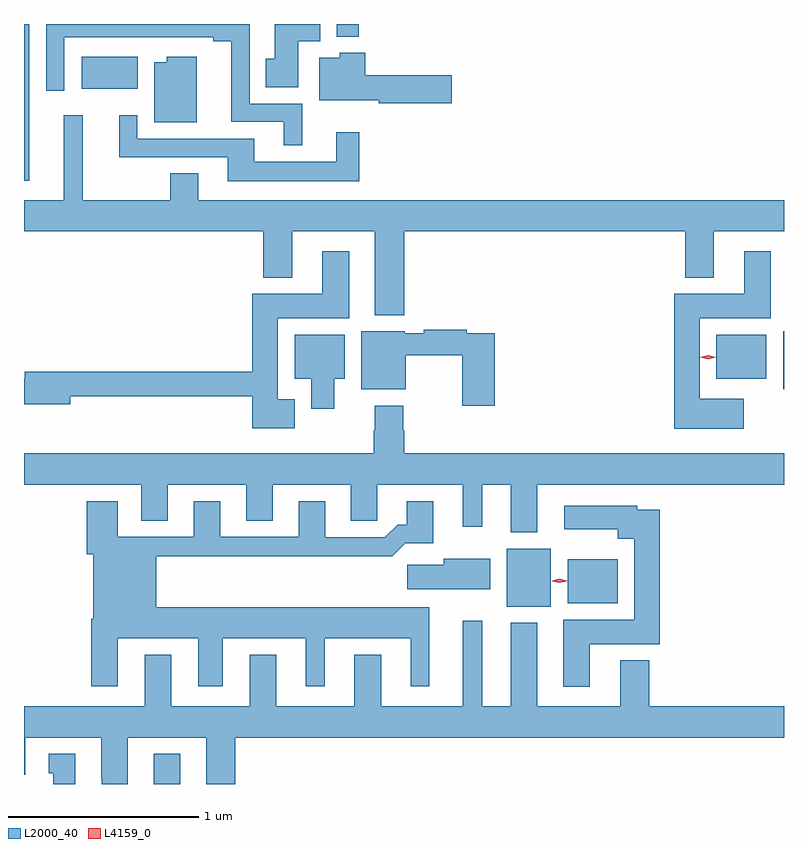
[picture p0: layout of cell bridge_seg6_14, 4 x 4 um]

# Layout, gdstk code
import gdstk
lib = gdstk.Library(unit=1e-6, precision=1e-09)
def R(c, l, rs):  # rectangles x0, y0, x1, y1
    for r in rs: c.add(gdstk.rectangle(r[:2], r[2:], *l))
def P(c, l, *ps):  # polygons
    for p in ps: c.add(gdstk.Polygon(p, *l))
L2000_40 = (2000, 40)
L4159_0 = (4159, 0)

bridge_seg6_14 = lib.new_cell('bridge_seg6_14')
R(bridge_seg6_14, L2000_40, [(910.085,983.056,910.225,983.215), (911.942,983.99,912.175,984.295), (912.263,984.008,912.526,984.238), (913.397,985.133,913.402,985.438), (913.046,985.19,913.309,985.42), (909.402,986.232,909.43,987.056), (909.707,986.714,910,986.884), (911.049,986.99,911.165,987.056)])
P(bridge_seg6_14, L2000_40, [(910.846,986.966),(910.96,986.966),(910.96,987.056),(910.721,987.056),(910.721,986.874),(910.675,986.874),(910.675,986.722),(910.846,986.722)],
  [(910.867,986.637),(910.59,986.637),(910.59,987.056),(909.519,987.056),(909.519,986.706),(909.615,986.706),(909.615,986.985),(910.397,986.985),(910.397,986.965),(910.493,986.965),(910.493,986.541),(910.769,986.541),(910.769,986.417),(910.867,986.417)],
  [(911.653,986.786),(911.198,986.786),(911.198,986.905),(911.064,986.905),(911.064,986.878),(910.955,986.878),(910.955,986.654),(911.268,986.654),(911.268,986.639),(911.653,986.639)],
  [(910.312,986.884),(910.154,986.884),(910.154,986.854),(910.088,986.854),(910.088,986.54),(910.312,986.54)],
  [(911.167,986.485),(911.045,986.485),(911.045,986.332),(910.615,986.332),(910.615,986.451),(909.999,986.451),(909.999,986.575),(909.902,986.575),(909.902,986.355),(910.475,986.355),(910.475,986.228),(911.167,986.228)],
  [(911.402,985.964),(912.881,985.964),(912.881,985.721),(913.033,985.721),(913.033,985.964),(913.402,985.964),(913.402,986.128),(910.318,986.128),(910.318,986.27),(910.171,986.27),(910.171,986.128),(909.71,986.128),(909.71,986.575),(909.611,986.575),(909.611,986.128),(909.402,986.128),(909.402,985.964),(910.661,985.964),(910.661,985.721),(910.813,985.721),(910.813,985.964),(911.249,985.964),(911.249,985.523),(911.402,985.523)],
  [(910.828,985.081),(910.738,985.081),(910.738,985.508),(911.113,985.508),(911.113,985.861),(910.973,985.861),(910.973,985.636),(910.604,985.636),(910.604,985.226),(909.407,985.226),(909.407,985.19),(909.402,985.19),(909.402,985.055),(909.646,985.055),(909.646,985.098),(910.604,985.098),(910.604,984.929),(910.828,984.929)],
  [(913.189,985.084),(912.958,985.084),(912.958,985.508),(913.333,985.508),(913.333,985.861),(913.193,985.861),(913.193,985.636),(912.824,985.636),(912.824,984.926),(913.189,984.926)],
  [(911.879,985.428),(911.732,985.428),(911.732,985.448),(911.506,985.448),(911.506,985.428),(911.406,985.428),(911.406,985.438),(911.177,985.438),(911.177,985.133),(911.41,985.133),(911.41,985.312),(911.708,985.312),(911.708,985.047),(911.879,985.047)],
  [(911.035,985.19),(911.089,985.19),(911.089,985.42),(910.826,985.42),(910.826,985.19),(910.913,985.19),(910.913,985.032),(911.035,985.032)],
  [(912.103,984.632),(913.402,984.632),(913.402,984.796),(911.402,984.796),(911.402,984.917),(911.397,984.917),(911.397,985.048),(911.249,985.048),(911.249,984.917),(911.242,984.917),(911.242,984.796),(909.402,984.796),(909.402,984.632),(910.019,984.632),(910.019,984.442),(910.159,984.442),(910.159,984.632),(910.571,984.632),(910.571,984.442),(910.711,984.442),(910.711,984.632),(911.123,984.632),(911.123,984.442),(911.262,984.442),(911.262,984.632),(911.711,984.632),(911.711,984.411),(911.815,984.411),(911.815,984.632),(911.963,984.632),(911.963,984.38),(912.103,984.38)],
  [(909.895,983.822),(910.319,983.822),(910.319,983.571),(910.447,983.571),(910.447,983.822),(910.886,983.822),(910.886,983.571),(910.984,983.571),(910.984,983.822),(911.438,983.822),(911.438,983.571),(911.536,983.571),(911.536,983.986),(910.099,983.986),(910.099,984.256),(911.083,984.256),(911.083,984.254),(911.339,984.254),(911.408,984.323),(911.557,984.323),(911.557,984.544),(911.417,984.544),(911.417,984.421),(911.368,984.421),(911.301,984.354),(910.987,984.354),(910.987,984.544),(910.847,984.544),(910.847,984.357),(910.435,984.357),(910.435,984.544),(910.295,984.544),(910.295,984.357),(909.895,984.357),(909.895,984.544),(909.731,984.544),(909.731,984.264),(909.767,984.264),(909.767,983.926),(909.755,983.926),(909.755,983.571),(909.895,983.571)],
  [(912.379,983.792),(912.749,983.792),(912.749,984.499),(912.63,984.499),(912.63,984.52),(912.246,984.52),(912.246,984.398),(912.527,984.398),(912.527,984.347),(912.614,984.347),(912.614,983.92),(912.239,983.92),(912.239,983.568),(912.379,983.568)],
  [(911.857,984.241),(911.612,984.241),(911.612,984.209),(911.418,984.209),(911.418,984.08),(911.857,984.08)],
  [(909.949,983.3),(910.361,983.3),(910.361,983.056),(910.514,983.056),(910.514,983.3),(913.402,983.3),(913.402,983.464),(912.692,983.464),(912.692,983.707),(912.539,983.707),(912.539,983.464),(912.103,983.464),(912.103,983.905),(911.963,983.905),(911.963,983.464),(911.815,983.464),(911.815,983.914),(911.711,983.914),(911.711,983.464),(911.281,983.464),(911.281,983.737),(911.141,983.737),(911.141,983.464),(910.729,983.464),(910.729,983.737),(910.589,983.737),(910.589,983.464),(910.177,983.464),(910.177,983.737),(910.037,983.737),(910.037,983.464),(909.402,983.464),(909.402,983.106),(909.409,983.106),(909.409,983.3),(909.809,983.3),(909.809,983.089),(909.812,983.089),(909.812,983.056),(909.949,983.056)],
  [(909.673,983.215),(909.533,983.215),(909.533,983.112),(909.557,983.112),(909.557,983.056),(909.673,983.056)])
P(bridge_seg6_14, L4159_0, [(913.002,985.292),(912.961,985.302),(912.961,985.302),(912.961,985.302),(913.002,985.312),(913.042,985.302),(913.042,985.302),(913.042,985.302)],
  [(912.219,984.115),(912.181,984.124),(912.181,984.125),(912.181,984.125),(912.219,984.135),(912.258,984.125),(912.258,984.125),(912.258,984.124)])

lib.write_gds('bridge_seg6_14.gds')
